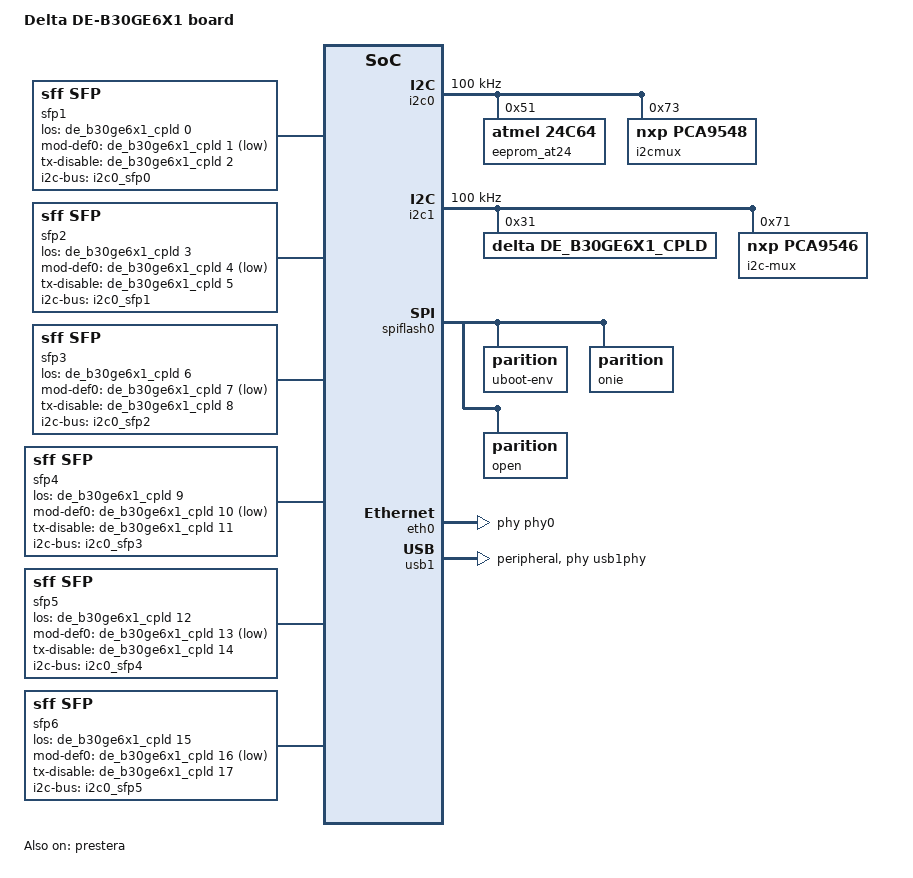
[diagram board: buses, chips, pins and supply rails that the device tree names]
// SPDX-License-Identifier: (GPL-2.0+ OR MIT)
/*
 * Device Tree For AC5_db.
 *
 * Copyright (C) 2021 Marvell
 *
 */
// SPDX-License-Identifier: (GPL-2.0+ OR MIT)
/*
 * Device Tree file for Marvell Alleycat 5 development board
 * This board file supports the B configuration of the board
 */
#include "delta-ac5-4gb.dtsi"

/ {
	model = "Delta DE-B30GE6X1 board";
	sfp1: sfp-1 {
		compatible = "sff,sfp";
		i2c-bus = <&i2c0_sfp0>;
		maximum-power-milliwatt = <2000>;
		los-gpio = <&de_b30ge6x1_cpld 0 GPIO_ACTIVE_HIGH>;
		mod-def0-gpio = <&de_b30ge6x1_cpld 1 GPIO_ACTIVE_LOW>;
		tx-disable-gpio = <&de_b30ge6x1_cpld 2 GPIO_ACTIVE_HIGH>;
	};

	sfp2: sfp-2 {
		compatible = "sff,sfp";
		i2c-bus = <&i2c0_sfp1>;
		maximum-power-milliwatt = <2000>;
		los-gpio = <&de_b30ge6x1_cpld 3 GPIO_ACTIVE_HIGH>;
		mod-def0-gpio = <&de_b30ge6x1_cpld 4 GPIO_ACTIVE_LOW>;
		tx-disable-gpio = <&de_b30ge6x1_cpld 5 GPIO_ACTIVE_HIGH>;
	};

	sfp3: sfp-3 {
		compatible = "sff,sfp";
		i2c-bus = <&i2c0_sfp2>;
		maximum-power-milliwatt = <2000>;
		los-gpio = <&de_b30ge6x1_cpld 6 GPIO_ACTIVE_HIGH>;
		mod-def0-gpio = <&de_b30ge6x1_cpld 7 GPIO_ACTIVE_LOW>;
		tx-disable-gpio = <&de_b30ge6x1_cpld 8 GPIO_ACTIVE_HIGH>;
	};

	sfp4: sfp-4 {
		compatible = "sff,sfp";
		i2c-bus = <&i2c0_sfp3>;
		maximum-power-milliwatt = <2000>;
		los-gpio = <&de_b30ge6x1_cpld 9 GPIO_ACTIVE_HIGH>;
		mod-def0-gpio = <&de_b30ge6x1_cpld 10 GPIO_ACTIVE_LOW>;
		tx-disable-gpio = <&de_b30ge6x1_cpld 11 GPIO_ACTIVE_HIGH>;
	};

	sfp5: sfp-5 {
		compatible = "sff,sfp";
		i2c-bus = <&i2c0_sfp4>;
		maximum-power-milliwatt = <2000>;
		los-gpio = <&de_b30ge6x1_cpld 12 GPIO_ACTIVE_HIGH>;
		mod-def0-gpio = <&de_b30ge6x1_cpld 13 GPIO_ACTIVE_LOW>;
		tx-disable-gpio = <&de_b30ge6x1_cpld 14 GPIO_ACTIVE_HIGH>;
	};

	sfp6: sfp-6 {
		compatible = "sff,sfp";
		i2c-bus = <&i2c0_sfp5>;
		maximum-power-milliwatt = <2000>;
		los-gpio = <&de_b30ge6x1_cpld 15 GPIO_ACTIVE_HIGH>;
		mod-def0-gpio = <&de_b30ge6x1_cpld 16 GPIO_ACTIVE_LOW>;
		tx-disable-gpio = <&de_b30ge6x1_cpld 17 GPIO_ACTIVE_HIGH>;
	};

};

&i2c0 {
	status = "okay";
	clock-frequency = <100000>;

	eeprom_at24: at24@51 {
		compatible = "atmel,24c64";
		reg = <0x51>;
	};

	i2cmux@73 {
		compatible = "nxp,pca9548";
		reg = <0x73>;
		#address-cells = <1>;
		#size-cells = <0>;
		i2c-mux-idle-disconnect;

		i2c0_sfp0: i2c@0 {
			reg = <0>;
			#address-cells = <1>;
			#size-cells = <0>;
                };
		i2c0_sfp1: i2c@1 {
			reg = <1>;
			#address-cells = <1>;
			#size-cells = <0>;
		};
		i2c0_sfp2: i2c@2 {
			reg = <2>;
			#address-cells = <1>;
			#size-cells = <0>;
		};
		i2c0_sfp3: i2c@3 {
			reg = <3>;
			#address-cells = <1>;
			#size-cells = <0>;
		};
		i2c0_sfp4: i2c@4 {
			reg = <4>;
			#address-cells = <1>;
			#size-cells = <0>;
		};
		i2c0_sfp5: i2c@5 {
			reg = <5>;
			#address-cells = <1>;
			#size-cells = <0>;
		};
		i2c0_sfp6: i2c@6 {
			reg = <6>;
			#address-cells = <1>;
			#size-cells = <0>;
		};
		i2c0_sfp7: i2c@7 {
			reg = <7>;
			#address-cells = <1>;
			#size-cells = <0>;
		};
	};
};

&i2c1 {
	status = "okay";
	clock-frequency = <100000>;

	de_b30ge6x1_cpld: de-b30ge6x1-cpld@31 {
		compatible = "delta,de_b30ge6x1_cpld";
		#address-cells = <1>;
		#size-cells = <0>;
		gpio-controller;
		#gpio-cells = <2>;
		reg = <0x31>;  /* CPLD/MUX I2C address */

		gpio-map {
			/* sfp1 */
			sfp01_gpio00_loss {
				reg-map = <0x32 (1 << 0)>;
				gpio-num = <0>;
			};
			sfp01_gpio01_pres {
				reg-map = <0x31 (1 << 0)>;
				gpio-num = <1>;
			};
			sfp01_gpio02_tx_dis {
				reg-map = <0x30 (1 << 0)>;
				gpio-num = <2>;
			};
			/* sfp2 */
			sfp02_gpio00_sfp_loss {
				reg-map = <0x32 (1 << 1)>;
				gpio-num = <3>;
			};
			sfp02_gpio01_sfp_pres {
				reg-map = <0x31 (1 << 1)>;
				gpio-num = <4>;
			};
			sfp02_gpio02_tx_dis {
				reg-map = <0x30 (1 << 1)>;
				gpio-num = <5>;
			};
			/* sfp3 */
			sfp03_gpio00_loss {
				reg-map = <0x32 (1 << 2)>;
				gpio-num = <6>;
			};
			sfp03_gpio01_pres {
				reg-map = <0x31 (1 << 2)>;
				gpio-num = <7>;
			};
			sfp03_gpio02_tx_dis {
				reg-map = <0x30 (1 << 2)>;
				gpio-num = <8>;
			};
			/* sfp4 */
			sfp04_gpio00_loss {
				reg-map = <0x32 (1 << 3)>;
				gpio-num = <9>;
			};
			sfp04_gpio01_sfp_pres {
				reg-map = <0x31 (1 << 3)>;
				gpio-num = <10>;
			};
			sfp04_gpio02_tx_dis {
				reg-map = <0x30 (1 << 3)>;
				gpio-num = <11>;
			};
			/* sfp5 */
			sfp05_gpio00_loss {
				reg-map = <0x32 (1 << 4)>;
				gpio-num = <12>;
			};
			sfp05_gpio01_pres {
				reg-map = <0x31 (1 << 4)>;
				gpio-num = <13>;
			};
			sfp05_gpio02_tx_dis {
				reg-map = <0x30 (1 << 4)>;
				gpio-num = <14>;
			};
			/* sfp6 */
			sfp06_gpio00_sfp_loss {
				reg-map = <0x32 (1 << 5)>;
				gpio-num = <15>;
			};
			sfp06_gpio01_sfp_pres {
				reg-map = <0x31 (1 << 5)>;
				gpio-num = <16>;
			};
			sfp06_gpio02_tx_dis {
				reg-map = <0x30 (1 << 5)>;
				gpio-num = <17>;
			};
		};
	};

	i2c-mux@71 {
		compatible = "nxp,pca9546";
		reg = <0x71>;
		#address-cells = <1>;
		#size-cells = <0>;

		i2c@0 {
			#address-cells = <1>;
			#size-cells = <0>;
			reg = <0>;
		};
		i2c@1 {
			#address-cells = <1>;
			#size-cells = <0>;
			reg = <1>;
		};
		i2c@2 {
			#address-cells = <1>;
			#size-cells = <0>;
			reg = <2>;
		};
		i2c@3 {
			#address-cells = <1>;
			#size-cells = <0>;
			reg = <3>;
		};
	};
};

&spiflash0 {
	partition@0 {
		label = "U-Boot";
		reg = <0x0 0x200000>;
	};

	parition@1 {
		label = "uboot-env";
		reg = <0x200000 0x10000>;
		env_size = <0x10000>;
	};

	parition@2 {
		label = "onie";
		reg = <0x210000 0x1200000>;
	};

	parition@3 {
		label = "open";
		reg = <0x1610000 0x9f0000>;
	};
};

&eth0 {
	status = "okay";
	phy = <&phy0>;
};

&usb1 {
	compatible = "chipidea,usb2";
	phys = <&usb1phy>;
	phy-names = "usb-phy";
	dr_mode = "peripheral";
};

&prestera {
	compatible = "marvell,prestera";
	status = "okay";
	reg = <0x0 0x7F900000 0x0 0x40000>;
	ports {
		port25 {
			prestera,port-num = <25>;
			sfp = <&sfp1>;
		};
		port26 {
			prestera,port-num = <26>;
			sfp = <&sfp2>;
		};

		port27 {
			prestera,port-num = <27>;
			sfp = <&sfp3>;
		};

		port28 {
			prestera,port-num = <28>;
			sfp = <&sfp4>;
		};

		port29 {
			prestera,port-num = <29>;
			sfp = <&sfp5>;
		};

		port30 {
			prestera,port-num = <30>;
			sfp = <&sfp6>;
		};

	};
};

&sfp1 {
	status = "okay";
};

&sfp2 {
	status = "okay";
};

&sfp3 {
	status = "okay";
};

&sfp4 {
	status = "okay";
};

&sfp5 {
	status = "okay";
};

&sfp6 {
	status = "okay";
};


